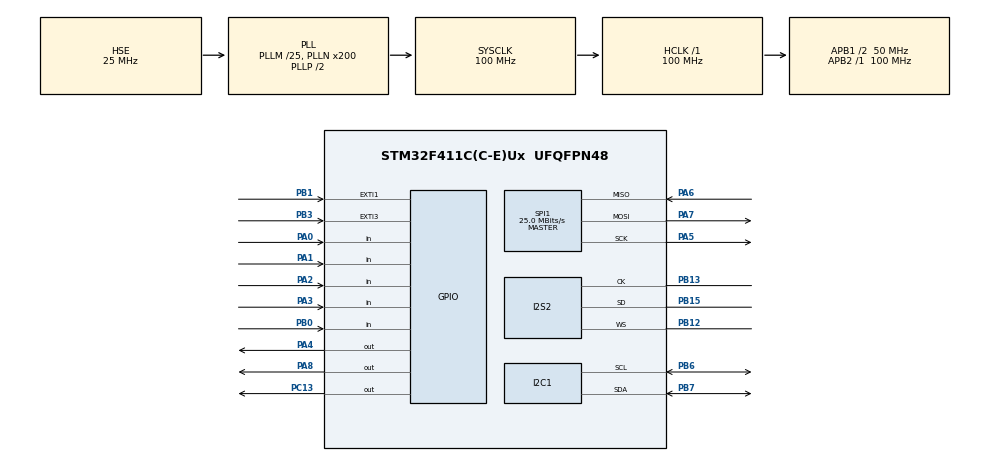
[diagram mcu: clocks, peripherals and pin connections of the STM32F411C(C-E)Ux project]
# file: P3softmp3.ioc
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Dma.I2C1_TX.3.Direction=DMA_MEMORY_TO_PERIPH
Dma.I2C1_TX.3.FIFOMode=DMA_FIFOMODE_DISABLE
Dma.I2C1_TX.3.Instance=DMA1_Stream6
Dma.I2C1_TX.3.MemDataAlignment=DMA_MDATAALIGN_BYTE
Dma.I2C1_TX.3.MemInc=DMA_MINC_ENABLE
Dma.I2C1_TX.3.Mode=DMA_NORMAL
Dma.I2C1_TX.3.PeriphDataAlignment=DMA_PDATAALIGN_BYTE
Dma.I2C1_TX.3.PeriphInc=DMA_PINC_DISABLE
Dma.I2C1_TX.3.Priority=DMA_PRIORITY_MEDIUM
Dma.Request0=SPI2_TX
Dma.Request1=SPI1_RX
Dma.Request2=SPI1_TX
Dma.Request3=I2C1_TX
Dma.SPI1_RX.1.Direction=DMA_PERIPH_TO_MEMORY
Dma.SPI1_RX.1.FIFOMode=DMA_FIFOMODE_DISABLE
Dma.SPI1_RX.1.Instance=DMA2_Stream0
Dma.SPI1_RX.1.MemDataAlignment=DMA_MDATAALIGN_BYTE
Dma.SPI1_RX.1.MemInc=DMA_MINC_ENABLE
Dma.SPI1_RX.1.Mode=DMA_NORMAL
Dma.SPI1_RX.1.PeriphDataAlignment=DMA_PDATAALIGN_BYTE
Dma.SPI1_RX.1.PeriphInc=DMA_PINC_DISABLE
Dma.SPI1_RX.1.Priority=DMA_PRIORITY_HIGH
Dma.SPI1_TX.2.Direction=DMA_MEMORY_TO_PERIPH
Dma.SPI1_TX.2.FIFOMode=DMA_FIFOMODE_DISABLE
Dma.SPI1_TX.2.Instance=DMA2_Stream3
Dma.SPI1_TX.2.MemDataAlignment=DMA_MDATAALIGN_BYTE
Dma.SPI1_TX.2.MemInc=DMA_MINC_ENABLE
Dma.SPI1_TX.2.Mode=DMA_NORMAL
Dma.SPI1_TX.2.PeriphDataAlignment=DMA_PDATAALIGN_BYTE
Dma.SPI1_TX.2.PeriphInc=DMA_PINC_DISABLE
Dma.SPI1_TX.2.Priority=DMA_PRIORITY_HIGH
Dma.SPI2_TX.0.Direction=DMA_MEMORY_TO_PERIPH
Dma.SPI2_TX.0.FIFOMode=DMA_FIFOMODE_DISABLE
Dma.SPI2_TX.0.Instance=DMA1_Stream4
Dma.SPI2_TX.0.MemDataAlignment=DMA_MDATAALIGN_HALFWORD
Dma.SPI2_TX.0.MemInc=DMA_MINC_ENABLE
Dma.SPI2_TX.0.Mode=DMA_CIRCULAR
Dma.SPI2_TX.0.PeriphDataAlignment=DMA_PDATAALIGN_HALFWORD
Dma.SPI2_TX.0.PeriphInc=DMA_PINC_DISABLE
Dma.SPI2_TX.0.Priority=DMA_PRIORITY_VERY_HIGH
FATFS._CODE_PAGE=936
FATFS._LFN_UNICODE=0
FATFS._STRF_ENCODE=3
FATFS._USE_FIND=1
FATFS._USE_LFN=1
I2C1.I2C_Mode=I2C_Fast
I2S2.AudioFreq=I2S_AUDIOFREQ_44K
I2S2.DataFormat=I2S_DATAFORMAT_16B
I2S2.ErrorAudioFreq=0.24 %
I2S2.FullDuplexMode=I2S_FULLDUPLEXMODE_DISABLE
I2S2.Instance=SPI$Index
I2S2.RealAudioFreq=44.108 KHz
I2S2.VirtualMode=I2S_MODE_MASTER
Mcu.Family=STM32F4
Mcu.Name=STM32F411C(C-E)Ux
Mcu.Package=UFQFPN48
NVIC.DMA1_Stream4_IRQn=true\:0\:0\:false\:false\:true\:false\:true\:true
NVIC.DMA1_Stream6_IRQn=true\:3\:0\:true\:false\:true\:false\:true\:true
NVIC.DMA2_Stream0_IRQn=true\:2\:0\:true\:false\:true\:false\:true\:true
NVIC.DMA2_Stream3_IRQn=true\:0\:0\:false\:false\:true\:false\:true\:true
NVIC.EXTI1_IRQn=true\:10\:0\:true\:false\:true\:true\:true\:true
NVIC.EXTI3_IRQn=true\:10\:0\:true\:false\:true\:true\:true\:true
NVIC.I2C1_ER_IRQn=true\:3\:0\:true\:false\:true\:true\:true\:true
NVIC.I2C1_EV_IRQn=true\:3\:0\:true\:false\:true\:true\:true\:true
NVIC.PriorityGroup=NVIC_PRIORITYGROUP_4
NVIC.SPI1_IRQn=true\:2\:0\:true\:false\:true\:true\:true\:true
NVIC.SPI2_IRQn=true\:0\:0\:false\:false\:true\:true\:true\:true
NVIC.TIM3_IRQn=true\:2\:0\:true\:false\:true\:true\:true\:true
PA0-WKUP.GPIO_PuPd=GPIO_PULLUP
PA0-WKUP.Signal=GPIO_Input
PA1.GPIO_PuPd=GPIO_PULLUP
PA1.Signal=GPIO_Input
PA13.Mode=Serial_Wire
PA13.Signal=SYS_JTMS-SWDIO
PA14.Mode=Serial_Wire
PA14.Signal=SYS_JTCK-SWCLK
PA2.GPIO_PuPd=GPIO_PULLUP
PA2.Signal=GPIO_Input
PA3.GPIO_PuPd=GPIO_PULLUP
PA3.Signal=GPIO_Input
PA4.PinState=GPIO_PIN_SET
PA4.Signal=GPIO_Output
PA5.Mode=Full_Duplex_Master
PA5.Signal=SPI1_SCK
PA6.GPIO_PuPd=GPIO_PULLUP
PA6.Mode=Full_Duplex_Master
PA6.Signal=SPI1_MISO
PA7.Mode=Full_Duplex_Master
PA7.Signal=SPI1_MOSI
PA8.PinState=GPIO_PIN_SET
PA8.Signal=GPIO_Output
PB0.GPIO_PuPd=GPIO_PULLUP
PB0.Signal=GPIO_Input
PB1.Signal=GPXTI1
PB12.Mode=Half_Duplex_Master
PB12.Signal=I2S2_WS
PB13.Mode=Half_Duplex_Master
PB13.Signal=I2S2_CK
PB15.Mode=Half_Duplex_Master
PB15.Signal=I2S2_SD
PB3.Signal=GPXTI3
PB6.Mode=I2C
PB6.Signal=I2C1_SCL
PB7.Mode=I2C
PB7.Signal=I2C1_SDA
PC13-ANTI_TAMP.Signal=GPIO_Output
PH0\ -\ OSC_IN.Mode=HSE-External-Oscillator
PH0\ -\ OSC_IN.Signal=RCC_OSC_IN
PH1\ -\ OSC_OUT.Mode=HSE-External-Oscillator
PH1\ -\ OSC_OUT.Signal=RCC_OSC_OUT
ProjectManager.HeapSize=0x200
ProjectManager.StackSize=0x4000
ProjectManager.TargetToolchain=CMake
RCC.48MHZClocksFreq_Value=50000000
RCC.AHBFreq_Value=100000000
RCC.APB1CLKDivider=RCC_HCLK_DIV2
RCC.APB1Freq_Value=50000000
RCC.APB1TimFreq_Value=100000000
RCC.APB2Freq_Value=100000000
RCC.APB2TimFreq_Value=100000000
RCC.CortexFreq_Value=100000000
RCC.HCLKFreq_Value=100000000
RCC.HSE_VALUE=25000000
RCC.HSI_VALUE=16000000
RCC.LSE_VALUE=32768
RCC.PLLI2SM=25
RCC.PLLI2SN=271
RCC.PLLM=25
RCC.PLLN=200
RCC.PLLSourceVirtual=RCC_PLLSOURCE_HSE
RCC.SYSCLKFreq_VALUE=100000000
RCC.SYSCLKSource=RCC_SYSCLKSOURCE_PLLCLK
RCC.VCOOutputFreq_Value=200000000
SPI1.BaudRatePrescaler=SPI_BAUDRATEPRESCALER_4
SPI1.CalculateBaudRate=25.0 MBits/s
SPI1.Direction=SPI_DIRECTION_2LINES
SPI1.Mode=SPI_MODE_MASTER
SPI1.VirtualType=VM_MASTER
TIM3.Period=10000-1
TIM3.Prescaler=100-1
VP_FATFS_VS_Generic.Mode=User_defined
VP_TIM3_VS_ClockSourceINT.Mode=Internal
board=custom

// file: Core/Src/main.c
/* USER CODE BEGIN Header */
/**
  ******************************************************************************
  * @file           : main.c
  * @brief          : Main program body
  ******************************************************************************
  * @attention
  *
  * Copyright (c) 2026 STMicroelectronics.
  * All rights reserved.
  *
  * This software is licensed under terms that can be found in the LICENSE file
  * in the root directory of this software component.
  * If no LICENSE file comes with this software, it is provided AS-IS.
  *
  ******************************************************************************
  */
/* USER CODE END Header */
#include "main.h"
#include "dma.h"
#include "fatfs.h"
#include "i2c.h"
#include "i2s.h"
#include "spi.h"
#include "tim.h"
#include "gpio.h"

/* USER CODE BEGIN Includes */
#include "sd_card_spi.h"
#include "audio_driver.h"
#include "playlist.h"
#include "oled_driver.h"
#include "oled_app.h"
#include "app_task.h"
#include <stdio.h>
#include <string.h>

#include "mp3dec.h"
#include "oled_font.h"
/* USER CODE END Includes */

/* USER CODE BEGIN PV */
FATFS fs;                 // 全局文件系统对象（必须放全局，防止栈溢出）
FRESULT res;              // FatFs返回值
uint32_t ui_timer = 0;    // UI刷新计时
uint32_t key_timer = 0;   // 按键扫描计时

uint32_t real_time_bytes = 0;
uint32_t last_stat_tick = 0;
int current_bw = 0.0f;
/* USER CODE END PV */

void SystemClock_Config(void);

int main(void)
{

  /* MCU Configuration--------------------------------------------------------*/

  /* Reset of all peripherals, Initializes the Flash interface and the Systick. */
  HAL_Init();

  /* Configure the system clock */
  SystemClock_Config();

  /* Initialize all configured peripherals */
  MX_GPIO_Init();
  MX_DMA_Init();
  MX_I2S2_Init();
  MX_I2C1_Init();
  MX_SPI1_Init();
  MX_FATFS_Init();
  MX_TIM3_Init();
  /* USER CODE BEGIN 2 */
  OLED_Init();
  OLED_Clear();

  OLED_DrawImage(27, 12, 73, 40, P3_Logo_85x64);
  OLED_Update();
  HAL_Delay(1000);
  //  启动存储物理层
  if (SD_Init() == 0) {
    OLED_ShowString(0, 16, "SD HARDWARE: OK", 1);
  } else {
    OLED_ShowString(0, 16, "SD HARDWARE: FAIL", 1);
    OLED_Update();
    while(1); // 物理层挂了，死循环等待检查
  }
  OLED_Update();

  //  挂载文件系统 (GBK模式，无 L 前缀)
  res = f_mount(&fs, "0:", 1);
  if (res == FR_OK) {
    SD_SPI_SpeedHigh();
    OLED_ShowString(0, 32, "MOUNT: SUCCESS", 1);
  } else {
    char err_buf[32];
    sprintf(err_buf, "MOUNT ERR: %d", res);
    OLED_ShowString(0, 32, err_buf, 1);
    OLED_Update();
    while(1);
  }
  OLED_Update();

  // 加载中文字库
  // 确保路径正确，区分大小写
  res = OLED_FontInit("0:/SYSTEM/font.bin");
  if (res == FR_OK) {
    OLED_ShowString(0, 48, "FONT LOADED", 1);
  } else {
    // 没字库也能跑，只是中文不显示，所以不卡死
    OLED_ShowString(0, 48, "FONT MISSING", 1);
  }
  OLED_Update();

  // 音频引擎初始化
  Audio_Init();

  // 扫描歌曲并播放
  if (Playlist_Init() == FR_OK && g_playlist.total_count > 0) {
    OLED_Clear();
    char info[32];
    sprintf(info, "SONGS: %d", g_playlist.total_count);
    OLED_ShowString(0, 0, info, 1);
    OLED_ShowString(0, 16, "STARTING...", 1);
    OLED_Update();

    Playlist_PlayCurrent();
  } else {
    OLED_Clear();
    OLED_ShowString(0, 0, "NO MP3 FILES!", 1);
    OLED_Update();
  }

  /* USER CODE END 2 */

  /* Infinite loop */
  /* USER CODE BEGIN WHILE */
  while (1) {

    // 只要 DMA 发出半传输中断，这里就会立刻把数据从 SD 卡搬到 RAM 并拉伸格式
    Audio_Process();

    // 检查是否播完了，播完自动切歌
    Playlist_AutoNext_Task();

    // 按键交互 (每 20ms 扫描一次)
    if (HAL_GetTick() - key_timer >= 20) {
      key_timer = HAL_GetTick();
      App_Task_Keyboard();
    }

    // UI 刷新 (每 50ms 一次)
    if (HAL_GetTick() - ui_timer >= 40) {
      ui_timer = HAL_GetTick();
      UI_Refresh_Task(); // 滚动歌名、进度条
    }
    /* USER CODE END WHILE */

  }
}

void SystemClock_Config(void)
{
  RCC_OscInitTypeDef RCC_OscInitStruct = {0};
  RCC_ClkInitTypeDef RCC_ClkInitStruct = {0};

  /** Configure the main internal regulator output voltage
  */
  __HAL_RCC_PWR_CLK_ENABLE();
  __HAL_PWR_VOLTAGESCALING_CONFIG(PWR_REGULATOR_VOLTAGE_SCALE1);

  /** Initializes the RCC Oscillators according to the specified parameters
  * in the RCC_OscInitTypeDef structure.
  */
  RCC_OscInitStruct.OscillatorType = RCC_OSCILLATORTYPE_HSE;
  RCC_OscInitStruct.HSEState = RCC_HSE_ON;
  RCC_OscInitStruct.PLL.PLLState = RCC_PLL_ON;
  RCC_OscInitStruct.PLL.PLLSource = RCC_PLLSOURCE_HSE;
  RCC_OscInitStruct.PLL.PLLM = 25;
  RCC_OscInitStruct.PLL.PLLN = 200;
  RCC_OscInitStruct.PLL.PLLP = RCC_PLLP_DIV2;
  RCC_OscInitStruct.PLL.PLLQ = 4;
  if (HAL_RCC_OscConfig(&RCC_OscInitStruct) != HAL_OK)
  {
    Error_Handler();
  }

  /** Initializes the CPU, AHB and APB buses clocks
  */
  RCC_ClkInitStruct.ClockType = RCC_CLOCKTYPE_HCLK|RCC_CLOCKTYPE_SYSCLK
                              |RCC_CLOCKTYPE_PCLK1|RCC_CLOCKTYPE_PCLK2;
  RCC_ClkInitStruct.SYSCLKSource = RCC_SYSCLKSOURCE_PLLCLK;
  RCC_ClkInitStruct.AHBCLKDivider = RCC_SYSCLK_DIV1;
  RCC_ClkInitStruct.APB1CLKDivider = RCC_HCLK_DIV2;
  RCC_ClkInitStruct.APB2CLKDivider = RCC_HCLK_DIV1;

  if (HAL_RCC_ClockConfig(&RCC_ClkInitStruct, FLASH_LATENCY_3) != HAL_OK)
  {
    Error_Handler();
  }
}

void Error_Handler(void)
{
  __disable_irq();
  while (1)
  {
  }
}
